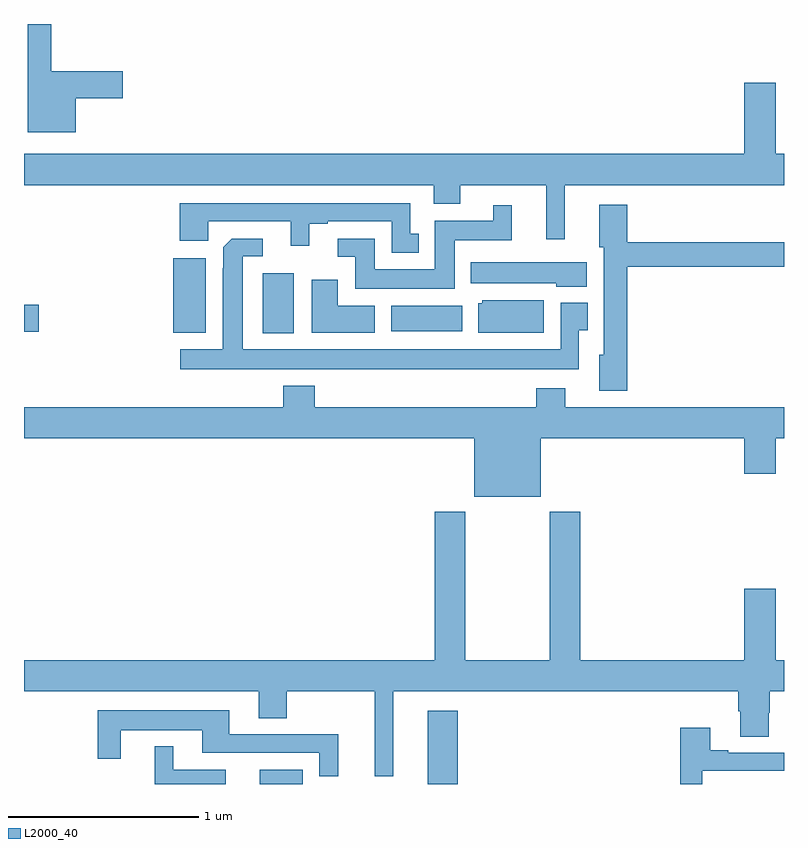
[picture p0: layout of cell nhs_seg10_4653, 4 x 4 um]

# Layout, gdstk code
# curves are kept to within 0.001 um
import gdstk
lib = gdstk.Library(unit=1e-6, precision=1e-09)
def R(c, l, rs):  # rectangles x0, y0, x1, y1
    for r in rs: c.add(gdstk.rectangle(r[:2], r[2:], *l))
def P(c, l, *ps):  # polygons
    for p in ps: c.add(gdstk.Polygon(p, *l))
L2000_40 = (2000, 40)

nhs_seg10_4653 = lib.new_cell('nhs_seg10_4653')
R(nhs_seg10_4653, L2000_40, [(378.242,1294.5,378.466,1294.576), (379.124,1294.5,379.283,1294.885), (378.257,1296.872,378.421,1297.189), (377.786,1296.875,377.956,1297.267), (377,1296.88,377.077,1297.022), (378.932,1296.884,379.306,1297.018)])
P(nhs_seg10_4653, L2000_40, [(377.272,1298.11),(377.521,1298.11),(377.521,1298.252),(377.143,1298.252),(377.143,1298.5),(377.021,1298.5),(377.021,1297.931),(377.272,1297.931)],
  [(379.847,1297.652),(381,1297.652),(381,1297.816),(380.956,1297.816),(380.956,1298.191),(380.792,1298.191),(380.792,1297.816),(377,1297.816),(377,1297.652),(379.157,1297.652),(379.157,1297.553),(379.297,1297.553),(379.297,1297.652),(379.748,1297.652),(379.748,1297.368),(379.847,1297.368)],
  [(379.078,1297.395),(379.032,1297.395),(379.032,1297.557),(377.819,1297.557),(377.819,1297.358),(377.97,1297.358),(377.97,1297.461),(378.404,1297.461),(378.404,1297.332),(378.502,1297.332),(378.502,1297.449),(378.598,1297.449),(378.598,1297.461),(378.936,1297.461),(378.936,1297.295),(379.078,1297.295)],
  [(380.174,1297.222),(381,1297.222),(381,1297.351),(380.174,1297.351),(380.174,1297.549),(380.027,1297.549),(380.027,1297.326),(380.051,1297.326),(380.051,1296.759),(380.027,1296.759),(380.027,1296.569),(380.174,1296.569)],
  [(379.267,1297.361),(379.568,1297.361),(379.568,1297.546),(379.469,1297.546),(379.469,1297.465),(379.163,1297.465),(379.163,1297.21),(378.847,1297.21),(378.847,1297.371),(378.651,1297.371),(378.651,1297.275),(378.743,1297.275),(378.743,1297.106),(379.267,1297.106)],
  [(379.921,1296.889),(379.966,1296.889),(379.966,1297.033),(379.824,1297.033),(379.824,1296.787),(378.151,1296.787),(378.151,1297.278),(378.256,1297.278),(378.256,1297.371),(378.094,1297.371),(378.048,1297.325),(378.047,1296.787),(377.823,1296.787),(377.823,1296.683),(379.921,1296.683)],
  [(379.963,1297.246),(379.352,1297.246),(379.352,1297.136),(379.8,1297.136),(379.8,1297.118),(379.963,1297.118)],
  [(378.847,1297.018),(378.652,1297.018),(378.652,1297.153),(378.515,1297.153),(378.515,1296.875),(378.847,1296.875)],
  [(379.735,1297.045),(379.413,1297.045),(379.413,1297.029),(379.391,1297.029),(379.391,1296.875),(379.735,1296.875)],
  [(379.72,1296.32),(380.792,1296.32),(380.792,1296.132),(380.956,1296.132),(380.956,1296.32),(381,1296.32),(381,1296.484),(379.849,1296.484),(379.849,1296.583),(379.697,1296.583),(379.697,1296.484),(378.53,1296.484),(378.53,1296.595),(378.365,1296.595),(378.365,1296.484),(377,1296.484),(377,1296.32),(379.37,1296.32),(379.37,1296.011),(379.72,1296.011)],
  [(378.944,1294.988),(380.759,1294.988),(380.759,1294.882),(380.771,1294.882),(380.771,1294.75),(380.919,1294.75),(380.919,1294.875),(380.924,1294.875),(380.924,1294.988),(381,1294.988),(381,1295.152),(380.956,1295.152),(380.956,1295.527),(380.792,1295.527),(380.792,1295.152),(379.928,1295.152),(379.928,1295.932),(379.768,1295.932),(379.768,1295.152),(379.323,1295.152),(379.323,1295.932),(379.163,1295.932),(379.163,1295.152),(377,1295.152),(377,1294.988),(378.236,1294.988),(378.236,1294.846),(378.384,1294.846),(378.384,1294.988),(378.845,1294.988),(378.845,1294.542),(378.944,1294.542)],
  [(378.653,1294.761),(378.079,1294.761),(378.079,1294.888),(377.388,1294.888),(377.388,1294.632),(377.509,1294.632),(377.509,1294.784),(377.939,1294.784),(377.939,1294.665),(378.555,1294.665),(378.555,1294.542),(378.653,1294.542)],
  [(380.571,1294.569),(381,1294.569),(381,1294.665),(380.707,1294.665),(380.707,1294.678),(380.611,1294.678),(380.611,1294.795),(380.455,1294.795),(380.455,1294.5),(380.571,1294.5)],
  [(378.062,1294.575),(377.785,1294.575),(377.785,1294.699),(377.687,1294.699),(377.687,1294.5),(378.062,1294.5)])

lib.write_gds('nhs_seg10_4653.gds')
